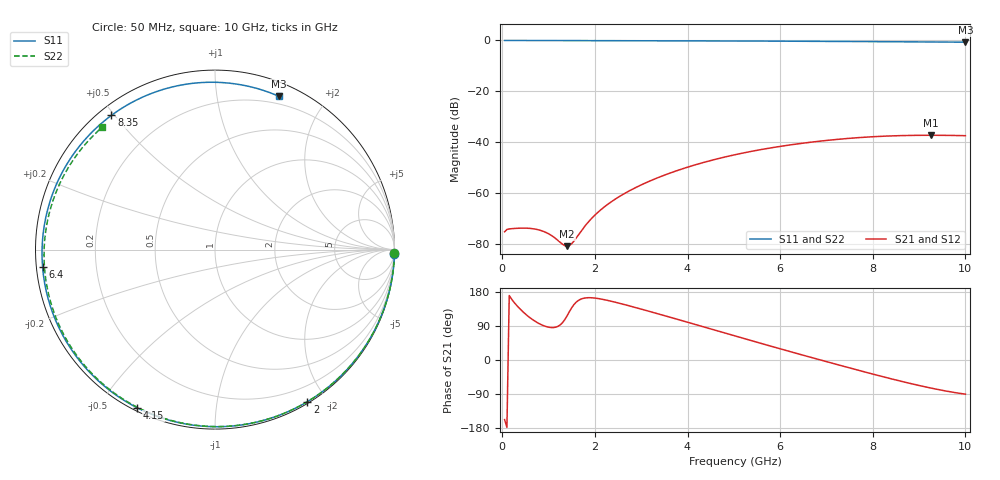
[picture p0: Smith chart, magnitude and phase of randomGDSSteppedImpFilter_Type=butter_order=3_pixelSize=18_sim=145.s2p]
! freq	dB(S11)	phase(S11)	dB(S12)	phase(S12)
!  dB(S21)	phase(S21)	dB(S22)	phase(S22)
!S-par simulation data
#  GHz  S  DB  R 50
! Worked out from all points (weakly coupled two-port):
!   200 points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, 50 MHz to 10 GHz, reference 50 ohm
!   highest |S21| = -37.22 dB at 9.25 GHz (marker M1); lowest = -80.8 dB at 1.4 GHz (marker M2)
!   lowest |S11| = -0.7 dB at 10 GHz (marker M3), VSWR 25.75, Z = 6.29 + j74.7 ohm
!   |S11| at or under -10 dB: nowhere
!   |S22| runs from -0.7 to 0.0 dB; largest |S21 - S12| = 0
!   S11 on the Smith chart (normalised r, x): 50 MHz: 0, -76; 2 GHz: 0.02, -1.78; 4.15 GHz: 0.01, -0.62; 6.4 GHz: 0.02, -0.05; 8.35 GHz: 0.04, +0.49; 10 GHz: 0.13, +1.49
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0.05  -0.00 -1.5  -75.11 -157.4  -75.11 -157.4  -0.00 -1.2
0.2  -0.00 -6.1  -73.89 160.8  -73.89 160.8  -0.00 -4.9
0.7  -0.03 -21.0  -74.02 102.8  -74.02 102.8  -0.02 -17.2
1  -0.04 -29.9  -75.90 86.6  -75.90 86.6  -0.03 -24.5
1.3  -0.05 -38.7  -79.98 98.4  -79.98 98.4  -0.04 -31.7
1.4  -0.05 -41.6  -80.76 116.8  -80.76 116.8  -0.04 -34.1
1.5  -0.06 -44.5  -79.76 138.1  -79.76 138.1  -0.05 -36.5
1.75  -0.06 -51.6  -73.66 162.8  -73.66 162.8  -0.05 -42.4
2  -0.07 -58.7  -68.55 163.4  -68.55 163.4  -0.06 -48.2
2.6  -0.09 -75.3  -60.49 147.5  -60.49 147.5  -0.08 -62.1
3.4  -0.12 -96.8  -53.58 120.6  -53.58 120.6  -0.11 -79.9
4.15  -0.16 -116.2  -48.92 94.4  -48.92 94.4  -0.13 -96.1
5.05  -0.21 -139.2  -44.75 62.6  -44.75 62.6  -0.18 -115.0
5.75  -0.25 -157.2  -42.32 38.2  -42.32 38.2  -0.22 -129.5
6.4  -0.30 -174.4  -40.55 15.9  -40.55 15.9  -0.26 -142.9
6.7  -0.33 177.4  -39.86 5.7  -39.86 5.7  -0.29 -149.1
7.55  -0.41 152.9  -38.34 -22.5  -38.34 -22.5  -0.37 -167.3
8.35  -0.49 127.6  -37.50 -48.2  -37.50 -48.2  -0.45 174.7
8.8  -0.54 112.3  -37.28 -61.7  -37.28 -61.7  -0.51 164.0
9.25  -0.59 96.0  -37.22 -73.9  -37.22 -73.9  -0.56 152.7
9.65  -0.64 80.9  -37.27 -83.4  -37.27 -83.4  -0.61 142.2
10  -0.67 67.3  -37.38 -90.2  -37.38 -90.2  -0.66 132.6
